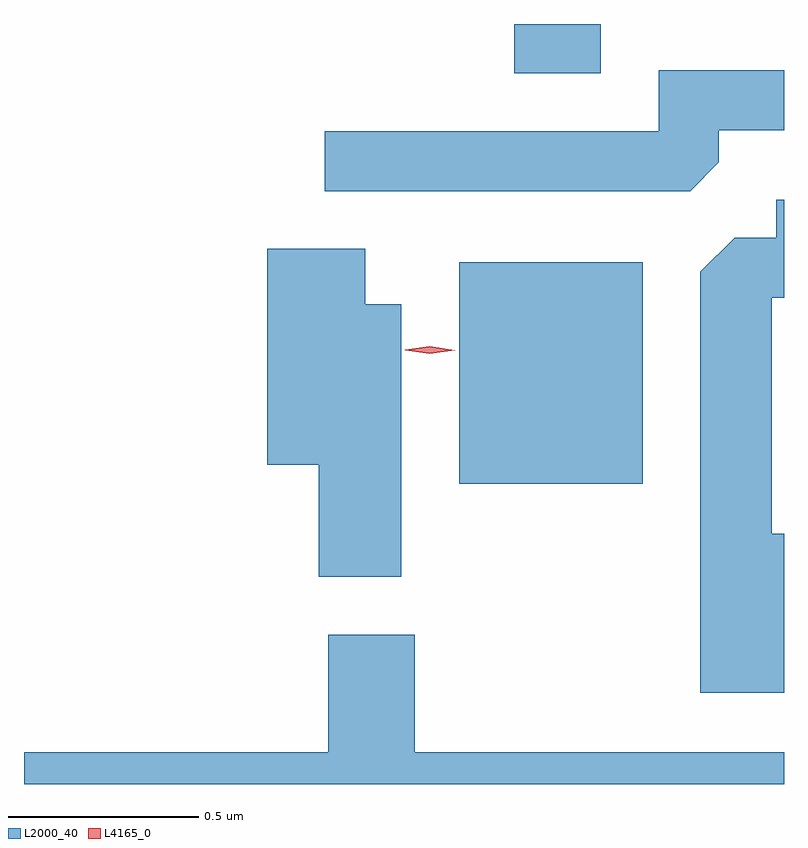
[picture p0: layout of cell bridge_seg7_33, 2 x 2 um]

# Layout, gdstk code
import gdstk
lib = gdstk.Library(unit=1e-6, precision=1e-09)
def R(c, l, rs):  # rectangles x0, y0, x1, y1
    for r in rs: c.add(gdstk.rectangle(r[:2], r[2:], *l))
def P(c, l, *ps):  # polygons
    for p in ps: c.add(gdstk.Polygon(p, *l))
L2000_40 = (2000, 40)
L4165_0 = (4165, 0)

bridge_seg7_33 = lib.new_cell('bridge_seg7_33')
R(bridge_seg7_33, L2000_40, [(1742.286,1755.251,1742.769,1755.834), (1742.431,1756.331,1742.659,1756.461)])
P(bridge_seg7_33, L2000_40, [(1742.969,1756.097),(1742.969,1756.181),(1743.141,1756.181),(1743.141,1756.339),(1742.811,1756.339),(1742.811,1756.179),(1741.933,1756.179),(1741.933,1756.021),(1742.894,1756.021)],
  [(1743.141,1755.119),(1743.109,1755.119),(1743.109,1755.741),(1743.141,1755.741),(1743.141,1755.999),(1743.121,1755.999),(1743.121,1755.899),(1743.012,1755.899),(1742.921,1755.809),(1742.921,1754.701),(1743.141,1754.701)],
  [(1742.134,1755.724),(1742.039,1755.724),(1742.039,1755.869),(1741.781,1755.869),(1741.781,1755.301),(1741.916,1755.301),(1741.916,1755.006),(1742.134,1755.006)],
  [(1743.141,1754.544),(1742.169,1754.544),(1742.169,1754.854),(1741.941,1754.854),(1741.941,1754.544),(1741.141,1754.544),(1741.141,1754.461),(1743.141,1754.461)])
P(bridge_seg7_33, L4165_0, [(1742.209,1755.593),(1742.144,1755.603),(1742.143,1755.603),(1742.144,1755.604),(1742.209,1755.613),(1742.275,1755.603),(1742.276,1755.603),(1742.275,1755.602)])

lib.write_gds('bridge_seg7_33.gds')
